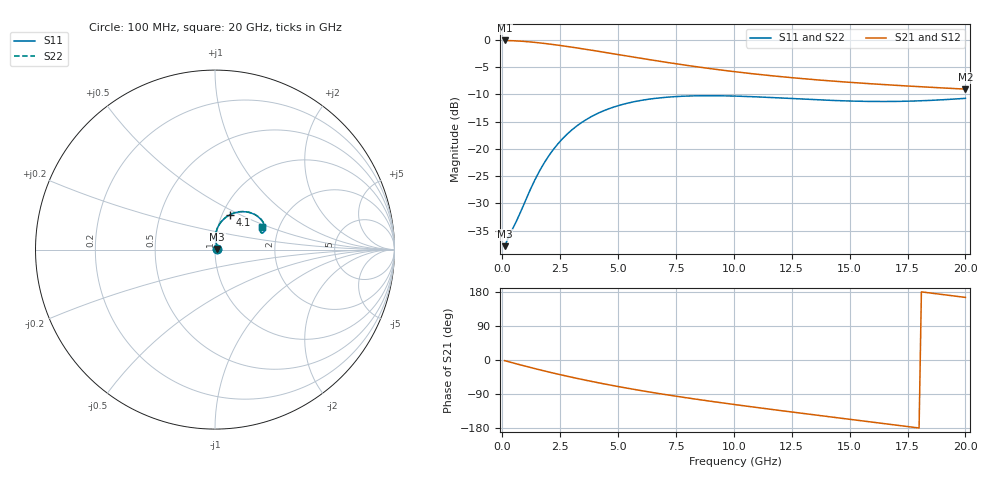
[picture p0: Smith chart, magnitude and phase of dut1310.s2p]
! Touchstone file exported from HFSS 2024.1.0
!  File:  C:/UserFiles/LocalFiles/RDL_TSV_Batchsim/temp_RDL_TSV_1310_1780384479.aedt
!  Generated:  03:30:49 PM Jun  2, 2026
!  Design:  RDL_TSV
!  Project:  temp_RDL_TSV_1310_1780384479
!  Setup:  Setup1
!  Solution:  Sweep
! Variables:
!  dtsv = 6.65um
!  hbump = 3um
!  htsv = 74.28um
!  ldown = 310.23um
!  lrdl = 470.43um
!  p = 40
!  p1 = 58.5um
!  rhole = 10um
!  subl = 2812.41um
!  t = 450um
!  tdown = 4.43um
!  trdl = 3.43um
!  viad = 10um
!  wdown = 18.24um
!  wrdl = 29.91um
!  xbump = 18um
# GHz S MA R 50.000000
! Terminal data exported
! Port[1] = TM1_1_T1
! Port[2] = TM1_4_T1
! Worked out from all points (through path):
!   200 points, 100 MHz to 20 GHz, reference 50 ohm
!   highest |S21| = -0.11 dB at 100 MHz (marker M1); lowest = -9.0 dB at 20 GHz (marker M2)
!   group delay of S21, straight-line fit = 25.4 ps
!   lowest |S11| = -37.9 dB at 100 MHz (marker M3), VSWR 1.03, Z = 51.2 + j0.367 ohm
!   |S11| at or under -10 dB: start of sweep to end of sweep
!   |S22| runs from -37.9 to -10.2 dB; largest |S21 - S12| = 7.5e-15
!   S11 on the Smith chart (normalised r, x): 100 MHz: 1.02, +0.01; 4.1 GHz: 1.09, +0.44; 20 GHz: 1.63, +0.46
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0.1  0.0128 16.2  0.9874 -1.7  0.9874 -1.7  0.0128 16.2
! Gamma 0 0 0 0
! Port Impedance 50 0 50 0
0.5  0.01942 51.5  0.9805 -8.3  0.9805 -8.3  0.01941 51.5
0.9  0.02987 73.8  0.9692 -14.8  0.9692 -14.8  0.02987 73.8
1.4  0.0515 86.0  0.9487 -22.6  0.9487 -22.6  0.05155 86.1
1.9  0.07974 87.7  0.923 -30.1  0.923 -30.1  0.07986 87.8
2.2  0.09835 86.3  0.906 -34.5  0.906 -34.5  0.09852 86.4
2.6  0.1238 83.1  0.8821 -40.1  0.8821 -40.1  0.1241 83.2
3  0.1489 79.1  0.8573 -45.5  0.8573 -45.5  0.1493 79.2
3.5  0.1786 73.6  0.8259 -52.1  0.8259 -52.1  0.179 73.7
4.1  0.2105 66.9  0.7882 -59.5  0.7882 -59.5  0.211 67.0
4.7  0.2373 60.5  0.7513 -66.6  0.7513 -66.6  0.238 60.6
5.3  0.2591 54.6  0.7159 -73.4  0.7159 -73.4  0.2599 54.7
6  0.2785 48.3  0.6769 -80.8  0.6769 -80.8  0.2793 48.4
6.8  0.2936 42.1  0.6359 -88.9  0.6359 -88.9  0.2946 42.2
8.4  0.3068 32.2  0.5661 -103.7  0.5661 -103.7  0.308 32.3
10.1  0.3047 25.0  0.5085 -118.1  0.5085 -118.1  0.3061 25.1
11.7  0.2952 21.0  0.467 -131.0  0.467 -131.0  0.2969 21.1
13.4  0.2833 19.4  0.4329 -144.2  0.4329 -144.2  0.2851 19.4
15  0.2747 19.8  0.4078 -156.5  0.4078 -156.5  0.2765 19.8
16.7  0.272 21.9  0.3861 -169.5  0.3861 -169.5  0.2737 21.7
18.3  0.2773 24.2  0.369 178.3  0.369 178.3  0.2789 24.0
20  0.2908 26.2  0.3532 165.2  0.3532 165.2  0.2921 26.0
